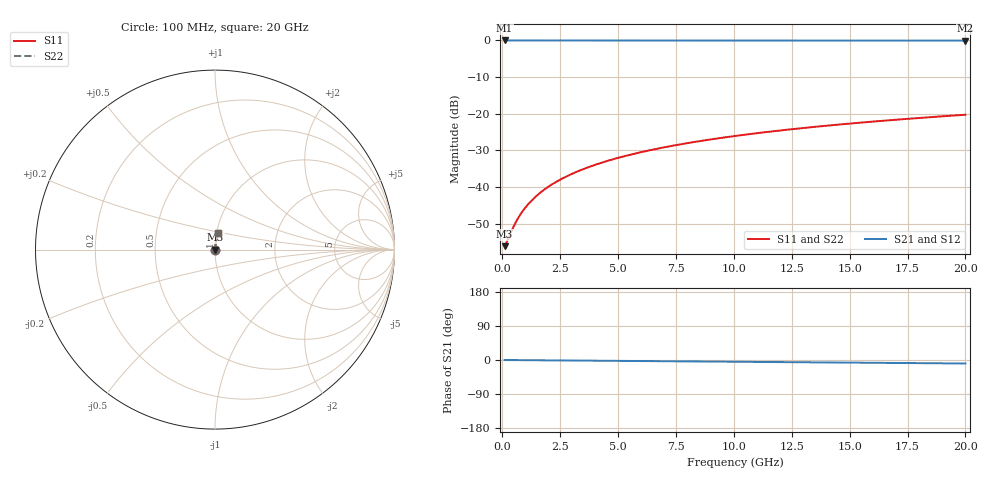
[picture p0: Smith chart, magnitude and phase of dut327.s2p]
! Touchstone file exported from HFSS 2026.1.0
!  File:  C:/ffzhzh/LocalFiles/Ansys_Project_Files/temp_train_TSV_327_1783018470_53980.aedt
!  Generated:  02:57:09 AM Jul  3, 2026
!  Design:  TSV
!  Project:  temp_train_TSV_327_1783018470_53980
! Variables:
!  h_bsmrdl = 2um
!  h_ox = 20um
!  h_rdl = 5um
!  h_sub = 72.98um
!  h_tmrdl = 5um
!  h_tsv = 72.98um
!  h_via = 3um
!  l_bsmrdl = 300um
!  l_sub = 404.78um
!  l_tmrdl = 200um
!  m_sub = 200um
!  pitch = 32.17um
!  r_tsv = 2.39um
!  s_tmrdl = 10um
!  w_bsmrdl = 18um
!  w_sub = 500um
!  w_tmrdl = 12um
!  x_tsv_center1 = 206um
!  x_tsv_center2 = 524um
!  x_tsv_center3 = 736um
!  x_tsv_center4 = 1054um
!  x_tsv_center5 = 1266um
!  x_tsv_center6 = 1584um
# GHz S MA R 50.000000
! Terminal data exported
! Port[1] = TSV1_1_T1
! Port[2] = TSV1_1_T2
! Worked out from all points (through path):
!   200 points, 100 MHz to 20 GHz, reference 50 ohm
!   highest |S21| = -0.01 dB at 100 MHz (marker M1); lowest = -0.1 dB at 20 GHz (marker M2)
!   group delay of S21, straight-line fit = 1.28 ps
!   lowest |S11| = -56.1 dB at 100 MHz (marker M3), VSWR 1.00, Z = 50.1 + j0.0511 ohm
!   |S11| at or under -10 dB: start of sweep to end of sweep
!   |S22| runs from -56.1 to -20.3 dB; largest |S21 - S12| = 4e-15
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0.1  0.001566 19.0  0.9985 -0.0  0.9985 -0.0  0.001566 19.0
! Gamma 0 0 0 0
! Port Impedance 50 0 50 0
0.2  0.001801 34.4  0.9985 -0.1  0.9985 -0.1  0.001801 34.4
0.4  0.002526 53.5  0.9985 -0.2  0.9985 -0.2  0.002526 53.5
0.5  0.00295 59.1  0.9985 -0.2  0.9985 -0.2  0.00295 59.1
0.7  0.003854 66.5  0.9985 -0.3  0.9985 -0.3  0.003854 66.5
0.8  0.004321 69.0  0.9985 -0.4  0.9985 -0.4  0.004321 69.0
1  0.005272 72.6  0.9985 -0.5  0.9985 -0.5  0.005272 72.6
1.3  0.006725 76.1  0.9984 -0.6  0.9984 -0.6  0.006725 76.1
1.7  0.008687 78.8  0.9984 -0.8  0.9984 -0.8  0.008687 78.8
2.2  0.01116 80.7  0.9983 -1.0  0.9983 -1.0  0.01116 80.7
2.8  0.01413 82.0  0.9983 -1.3  0.9983 -1.3  0.01413 82.0
3.5  0.01761 82.8  0.9982 -1.6  0.9982 -1.6  0.01761 82.8
4.2  0.02108 83.3  0.998 -2.0  0.998 -2.0  0.02108 83.3
5  0.02505 83.5  0.9979 -2.3  0.9979 -2.3  0.02505 83.5
5.9  0.02949 83.5  0.9976 -2.8  0.9976 -2.8  0.02949 83.5
6.8  0.03392 83.4  0.9974 -3.2  0.9974 -3.2  0.03392 83.4
8.3  0.04126 83.0  0.9969 -3.9  0.9969 -3.9  0.04126 83.0
10.1  0.05001 82.4  0.9962 -4.7  0.9962 -4.7  0.05001 82.4
11.7  0.05772 81.9  0.9956 -5.4  0.9956 -5.4  0.05772 81.9
13.4  0.06585 81.2  0.9949 -6.2  0.9949 -6.2  0.06585 81.2
16.7  0.08149 79.9  0.9933 -7.7  0.9933 -7.7  0.08149 79.9
20  0.09694 78.6  0.9915 -9.2  0.9915 -9.2  0.09694 78.6
